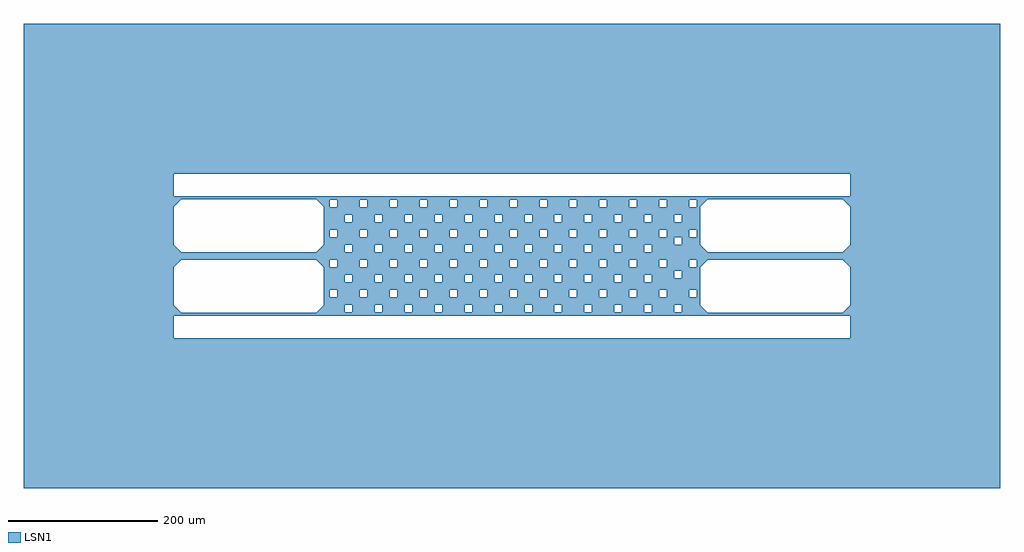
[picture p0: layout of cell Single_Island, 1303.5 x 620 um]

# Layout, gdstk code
import gdstk
lib = gdstk.Library(unit=1e-6, precision=1e-09)
def R(c, l, rs):  # rectangles x0, y0, x1, y1
    for r in rs: c.add(gdstk.rectangle(r[:2], r[2:], *l))
def A(c, l, x, y, w, h, nx, ny, dx, dy):  # array of equal rectangles
    R(c, l, [(x+i*dx, y+j*dy, x+i*dx+w, y+j*dy+h) for i in range(nx) for j in range(ny)])
def P(c, l, *ps):  # polygons
    for p in ps: c.add(gdstk.Polygon(p, *l))
LSN1 = (5, 0)

single_island = lib.new_cell('Single_Island')
A(single_island, LSN1, -154.9, -64.714, 10, 30, 1, 3, 0, 40)
A(single_island, LSN1, 105.1, -44.714, 10, 30, 1, 3, 0, 40)
R(single_island, LSN1, [(-663.4,-309.714,-463.4,310.286), (-463.4,-309.714,440.1,-109.714), (440.1,-309.714,640.1,310.286), (-463.4,-79.714,-263.4,-75.714), (-154.9,-79.714,-144.9,-74.714), (105.1,-79.714,115.1,-54.714), (240.1,-79.714,440.1,-75.714), (-463.4,-4.714,-263.4,5.286), (240.1,-4.714,440.1,5.286), (-463.4,76.286,-263.4,80.286), (240.1,76.286,440.1,80.286), (-463.4,110.286,440.1,310.286)])
P(single_island, LSN1, [(-144.9,55.286),(-154.9,55.286),(-154.9,-79.714),(-174.9,-79.714),(-174.9,-54.714),(-164.9,-54.714),(-164.9,-44.714),(-174.9,-44.714),(-174.9,-14.714),(-164.9,-14.714),(-164.9,-4.714),(-174.9,-4.714),(-174.9,25.286),(-164.9,25.286),(-164.9,35.286),(-174.9,35.286),(-174.9,65.286),(-164.9,65.286),(-164.9,75.286),(-174.9,75.286),(-174.9,-79.714),(-194.9,-79.714),(-194.9,-74.714),(-184.9,-74.714),(-184.9,-64.714),(-194.9,-64.714),(-194.9,-34.714),(-184.9,-34.714),(-184.9,-24.714),(-194.9,-24.714),(-194.9,5.286),(-184.9,5.286),(-184.9,15.286),(-194.9,15.286),(-194.9,45.286),(-184.9,45.286),(-184.9,55.286),(-194.9,55.286),(-194.9,-79.714),(-214.9,-79.714),(-214.9,-54.714),(-204.9,-54.714),(-204.9,-44.714),(-214.9,-44.714),(-214.9,-14.714),(-204.9,-14.714),(-204.9,-4.714),(-214.9,-4.714),(-214.9,25.286),(-204.9,25.286),(-204.9,35.286),(-214.9,35.286),(-214.9,65.286),(-204.9,65.286),(-204.9,75.286),(-214.9,75.286),(-214.9,-79.714),(-234.9,-79.714),(-234.9,-74.714),(-224.9,-74.714),(-224.9,-64.714),(-234.9,-64.714),(-234.9,-34.714),(-224.9,-34.714),(-224.9,-24.714),(-234.9,-24.714),(-234.9,5.286),(-224.9,5.286),(-224.9,15.286),(-234.9,15.286),(-234.9,45.286),(-224.9,45.286),(-224.9,55.286),(-234.9,55.286),(-234.9,-79.714),(-254.9,-79.714),(-254.9,-54.714),(-244.9,-54.714),(-244.9,-44.714),(-254.9,-44.714),(-254.9,-14.714),(-244.9,-14.714),(-244.9,-4.714),(-254.9,-4.714),(-254.9,25.286),(-244.9,25.286),(-244.9,35.286),(-254.9,35.286),(-254.9,65.286),(-244.9,65.286),(-244.9,75.286),(-254.9,75.286),(-254.9,-79.714),(-263.4,-79.714),(-263.4,80.286),(-144.9,80.286)],
  [(-144.9,80.286),(-14.9,80.286),(-14.9,-79.714),(-34.9,-79.714),(-34.9,-74.714),(-24.9,-74.714),(-24.9,-64.714),(-34.9,-64.714),(-34.9,-34.714),(-24.9,-34.714),(-24.9,-24.714),(-34.9,-24.714),(-34.9,5.286),(-24.9,5.286),(-24.9,15.286),(-34.9,15.286),(-34.9,45.286),(-24.9,45.286),(-24.9,55.286),(-34.9,55.286),(-34.9,-79.714),(-54.9,-79.714),(-54.9,-54.714),(-44.9,-54.714),(-44.9,-44.714),(-54.9,-44.714),(-54.9,-14.714),(-44.9,-14.714),(-44.9,-4.714),(-54.9,-4.714),(-54.9,25.286),(-44.9,25.286),(-44.9,35.286),(-54.9,35.286),(-54.9,65.286),(-44.9,65.286),(-44.9,75.286),(-54.9,75.286),(-54.9,-79.714),(-74.9,-79.714),(-74.9,-74.714),(-64.9,-74.714),(-64.9,-64.714),(-74.9,-64.714),(-74.9,-34.714),(-64.9,-34.714),(-64.9,-24.714),(-74.9,-24.714),(-74.9,5.286),(-64.9,5.286),(-64.9,15.286),(-74.9,15.286),(-74.9,45.286),(-64.9,45.286),(-64.9,55.286),(-74.9,55.286),(-74.9,-79.714),(-94.9,-79.714),(-94.9,-54.714),(-84.9,-54.714),(-84.9,-44.714),(-94.9,-44.714),(-94.9,-14.714),(-84.9,-14.714),(-84.9,-4.714),(-94.9,-4.714),(-94.9,25.286),(-84.9,25.286),(-84.9,35.286),(-94.9,35.286),(-94.9,65.286),(-84.9,65.286),(-84.9,75.286),(-94.9,75.286),(-94.9,-79.714),(-114.9,-79.714),(-114.9,-74.714),(-104.9,-74.714),(-104.9,-64.714),(-114.9,-64.714),(-114.9,-34.714),(-104.9,-34.714),(-104.9,-24.714),(-114.9,-24.714),(-114.9,5.286),(-104.9,5.286),(-104.9,15.286),(-114.9,15.286),(-114.9,45.286),(-104.9,45.286),(-104.9,55.286),(-114.9,55.286),(-114.9,-79.714),(-134.9,-79.714),(-134.9,-54.714),(-124.9,-54.714),(-124.9,-44.714),(-134.9,-44.714),(-134.9,-14.714),(-124.9,-14.714),(-124.9,-4.714),(-134.9,-4.714),(-134.9,25.286),(-124.9,25.286),(-124.9,35.286),(-134.9,35.286),(-134.9,65.286),(-124.9,65.286),(-124.9,75.286),(-134.9,75.286),(-134.9,-79.714),(-144.9,-79.714)],
  [(115.1,75.286),(105.1,75.286),(105.1,-79.714),(85.1,-79.714),(85.1,-74.714),(95.1,-74.714),(95.1,-64.714),(85.1,-64.714),(85.1,-34.714),(95.1,-34.714),(95.1,-24.714),(85.1,-24.714),(85.1,5.286),(95.1,5.286),(95.1,15.286),(85.1,15.286),(85.1,45.286),(95.1,45.286),(95.1,55.286),(85.1,55.286),(85.1,-79.714),(65.1,-79.714),(65.1,-54.714),(75.1,-54.714),(75.1,-44.714),(65.1,-44.714),(65.1,-14.714),(75.1,-14.714),(75.1,-4.714),(65.1,-4.714),(65.1,25.286),(75.1,25.286),(75.1,35.286),(65.1,35.286),(65.1,65.286),(75.1,65.286),(75.1,75.286),(65.1,75.286),(65.1,-79.714),(45.1,-79.714),(45.1,-74.714),(55.1,-74.714),(55.1,-64.714),(45.1,-64.714),(45.1,-34.714),(55.1,-34.714),(55.1,-24.714),(45.1,-24.714),(45.1,5.286),(55.1,5.286),(55.1,15.286),(45.1,15.286),(45.1,45.286),(55.1,45.286),(55.1,55.286),(45.1,55.286),(45.1,-79.714),(25.1,-79.714),(25.1,-54.714),(35.1,-54.714),(35.1,-44.714),(25.1,-44.714),(25.1,-14.714),(35.1,-14.714),(35.1,-4.714),(25.1,-4.714),(25.1,25.286),(35.1,25.286),(35.1,35.286),(25.1,35.286),(25.1,65.286),(35.1,65.286),(35.1,75.286),(25.1,75.286),(25.1,-79.714),(5.1,-79.714),(5.1,-74.714),(15.1,-74.714),(15.1,-64.714),(5.1,-64.714),(5.1,-34.714),(15.1,-34.714),(15.1,-24.714),(5.1,-24.714),(5.1,5.286),(15.1,5.286),(15.1,15.286),(5.1,15.286),(5.1,45.286),(15.1,45.286),(15.1,55.286),(5.1,55.286),(5.1,-79.714),(-14.9,-79.714),(-14.9,-54.714),(-4.9,-54.714),(-4.9,-44.714),(-14.9,-44.714),(-14.9,-14.714),(-4.9,-14.714),(-4.9,-4.714),(-14.9,-4.714),(-14.9,25.286),(-4.9,25.286),(-4.9,35.286),(-14.9,35.286),(-14.9,65.286),(-4.9,65.286),(-4.9,75.286),(-14.9,75.286),(-14.9,80.286),(115.1,80.286)],
  [(115.1,80.286),(240.1,80.286),(240.1,-79.714),(225.1,-79.714),(225.1,-54.714),(235.1,-54.714),(235.1,-44.714),(225.1,-44.714),(225.1,-14.714),(235.1,-14.714),(235.1,-4.714),(225.1,-4.714),(225.1,25.286),(235.1,25.286),(235.1,35.286),(225.1,35.286),(225.1,65.286),(235.1,65.286),(235.1,75.286),(225.1,75.286),(225.1,-79.714),(205.1,-79.714),(205.1,-74.714),(215.1,-74.714),(215.1,-64.714),(205.1,-64.714),(205.1,-29.714),(215.1,-29.714),(215.1,-19.714),(205.1,-19.714),(205.1,15.286),(215.1,15.286),(215.1,25.286),(205.1,25.286),(205.1,45.286),(215.1,45.286),(215.1,55.286),(205.1,55.286),(205.1,-79.714),(185.1,-79.714),(185.1,-54.714),(195.1,-54.714),(195.1,-44.714),(185.1,-44.714),(185.1,-14.714),(195.1,-14.714),(195.1,-4.714),(185.1,-4.714),(185.1,25.286),(195.1,25.286),(195.1,35.286),(185.1,35.286),(185.1,65.286),(195.1,65.286),(195.1,75.286),(185.1,75.286),(185.1,-79.714),(165.1,-79.714),(165.1,-74.714),(175.1,-74.714),(175.1,-64.714),(165.1,-64.714),(165.1,-34.714),(175.1,-34.714),(175.1,-24.714),(165.1,-24.714),(165.1,5.286),(175.1,5.286),(175.1,15.286),(165.1,15.286),(165.1,45.286),(175.1,45.286),(175.1,55.286),(165.1,55.286),(165.1,-79.714),(145.1,-79.714),(145.1,-54.714),(155.1,-54.714),(155.1,-44.714),(145.1,-44.714),(145.1,-14.714),(155.1,-14.714),(155.1,-4.714),(145.1,-4.714),(145.1,25.286),(155.1,25.286),(155.1,35.286),(145.1,35.286),(145.1,65.286),(155.1,65.286),(155.1,75.286),(145.1,75.286),(145.1,-79.714),(125.1,-79.714),(125.1,-74.714),(135.1,-74.714),(135.1,-64.714),(125.1,-64.714),(125.1,-34.714),(135.1,-34.714),(135.1,-24.714),(125.1,-24.714),(125.1,5.286),(135.1,5.286),(135.1,15.286),(125.1,15.286),(125.1,45.286),(135.1,45.286),(135.1,55.286),(125.1,55.286),(125.1,-79.714),(115.1,-79.714)],
  [(-273.4,76.286),(-263.4,76.286),(-263.4,66.286)],
  [(-453.4,76.286),(-463.4,76.286),(-463.4,66.286)],
  [(-273.4,5.286),(-263.4,5.286),(-263.4,15.286)],
  [(-453.4,5.286),(-463.4,5.286),(-463.4,15.286)],
  [(-273.4,-75.714),(-263.4,-75.714),(-263.4,-65.714)],
  [(-453.4,-75.714),(-463.4,-75.714),(-463.4,-65.714)],
  [(-273.4,-4.714),(-263.4,-4.714),(-263.4,-14.714)],
  [(-453.4,-4.714),(-463.4,-4.714),(-463.4,-14.714)],
  [(250.1,76.286),(240.1,76.286),(240.1,66.286)],
  [(430.1,76.286),(440.1,76.286),(440.1,66.286)],
  [(250.1,5.286),(240.1,5.286),(240.1,15.286)],
  [(430.1,5.286),(440.1,5.286),(440.1,15.286)],
  [(250.1,-75.714),(240.1,-75.714),(240.1,-65.714)],
  [(430.1,-75.714),(440.1,-75.714),(440.1,-65.714)],
  [(250.1,-4.714),(240.1,-4.714),(240.1,-14.714)],
  [(430.1,-4.714),(440.1,-4.714),(440.1,-14.714)])

lib.write_gds('Single_Island.gds')
